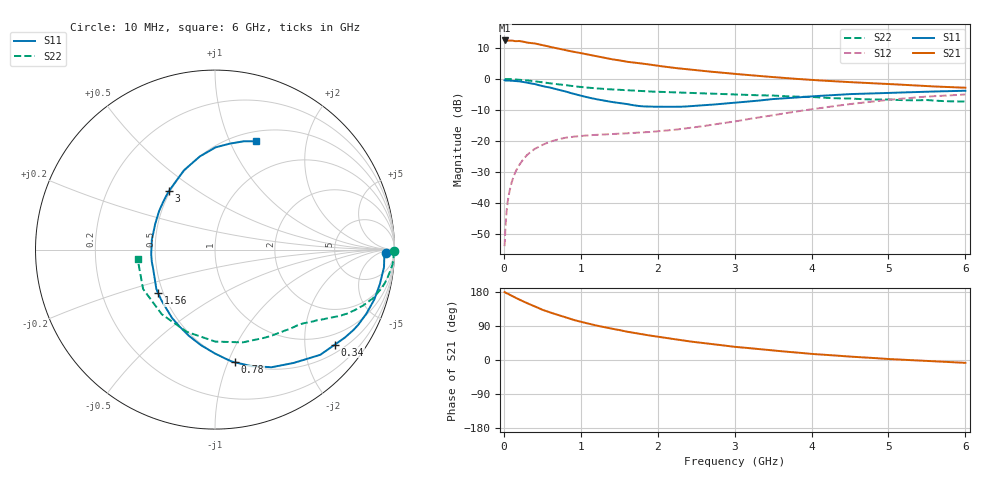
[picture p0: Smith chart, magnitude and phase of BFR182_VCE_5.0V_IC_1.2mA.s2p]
! Infineon Technologies  Discrete & RF Semiconductors
! BFR182
! VCE =  5.0 V,  IC =  1.2 mA
! Common Emitter S-Parameters:  Nov 2015
# GHz  S  MA  R  50
!  f  S11  S21  S12  S22
! GHz  MAG  ANG  MAG  ANG  MAG  ANG  MAG  ANG
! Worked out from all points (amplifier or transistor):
!   210 points, 10 MHz to 6 GHz, reference 50 ohm
!   highest |S21| = 12.4 dB at 10 MHz (marker M1)
!   |S21| within 3 dB of that: start of sweep to 770.6 MHz
!   unconditionally stable (mu >= 1): 1.712 GHz to 3.245 GHz
!   at 185 MHz: K = 0.13, MSG = 20.3 dB, |S12| = -28.4 dB
!   at 1.52 GHz: K = 0.91, MSG = 11.8 dB, |S12| = -17.6 dB
!   at 6 GHz: K = 0.92, MSG = 1.1 dB, |S12| = -5.0 dB
!   S11 on the Smith chart (normalised r, x): 10 MHz: 35, -14; 340 MHz: 0.70, -2.71; 780 MHz: 0.50, -1.06; 1.56 GHz: 0.47, -0.27; 3 GHz: 0.49, +0.38; 6 GHz: 0.61, +1.26
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0.01  0.9518 -1.1  4.183 179.2  0.002 90.2  0.9981 -0.5
0.02  0.9439 -2.2  4.069 177.9  0.0038 85.0  0.9946 -1.0
0.04  0.9453 -4.7  4.135 176.0  0.0082 87.2  0.995 -1.9
0.09  0.9393 -10.6  4.176 171.2  0.0189 82.9  0.9933 -4.2
0.15  0.9303 -17.3  4.073 164.5  0.0312 79.0  0.983 -7.1
0.2  0.9155 -23.1  4.095 159.7  0.0408 76.1  0.9733 -9.4
0.34  0.8522 -38.4  3.814 146.8  0.065 67.0  0.9366 -15.0
0.4  0.8291 -45.0  3.747 141.8  0.0741 64.0  0.9193 -17.3
0.5  0.7688 -55.2  3.532 132.6  0.0861 58.9  0.883 -20.6
0.7  0.6764 -73.2  3.107 118.8  0.1054 51.1  0.8219 -25.6
0.78  0.6377 -79.9  2.943 113.7  0.111 48.4  0.7994 -27.1
0.9  0.5792 -90.0  2.761 106.1  0.1169 45.6  0.7662 -29.3
1.02  0.5298 -100.0  2.586 99.9  0.1207 43.7  0.7382 -31.1
1.2  0.4724 -114.6  2.335 91.1  0.1254 41.7  0.7055 -33.7
1.56  0.3992 -142.4  1.936 76.6  0.1319 41.3  0.6606 -37.8
2.02  0.3556 -177.1  1.622 60.7  0.1439 46.4  0.62 -43.4
2.4  0.3618 157.8  1.429 49.4  0.161 51.4  0.5955 -49.3
3  0.4147 128.5  1.209 34.8  0.2056 56.2  0.5639 -60.5
3.1  0.4233 124.7  1.179 33.0  0.2164 56.2  0.5569 -63.0
4.1  0.5331 97.3  0.948 14.8  0.3374 52.0  0.5026 -93.4
5.1  0.6008 80.7  0.817 1.6  0.4717 38.5  0.4594 -133.7
6  0.6452 69.2  0.722 -7.5  0.5615 22.8  0.434 -172.8
